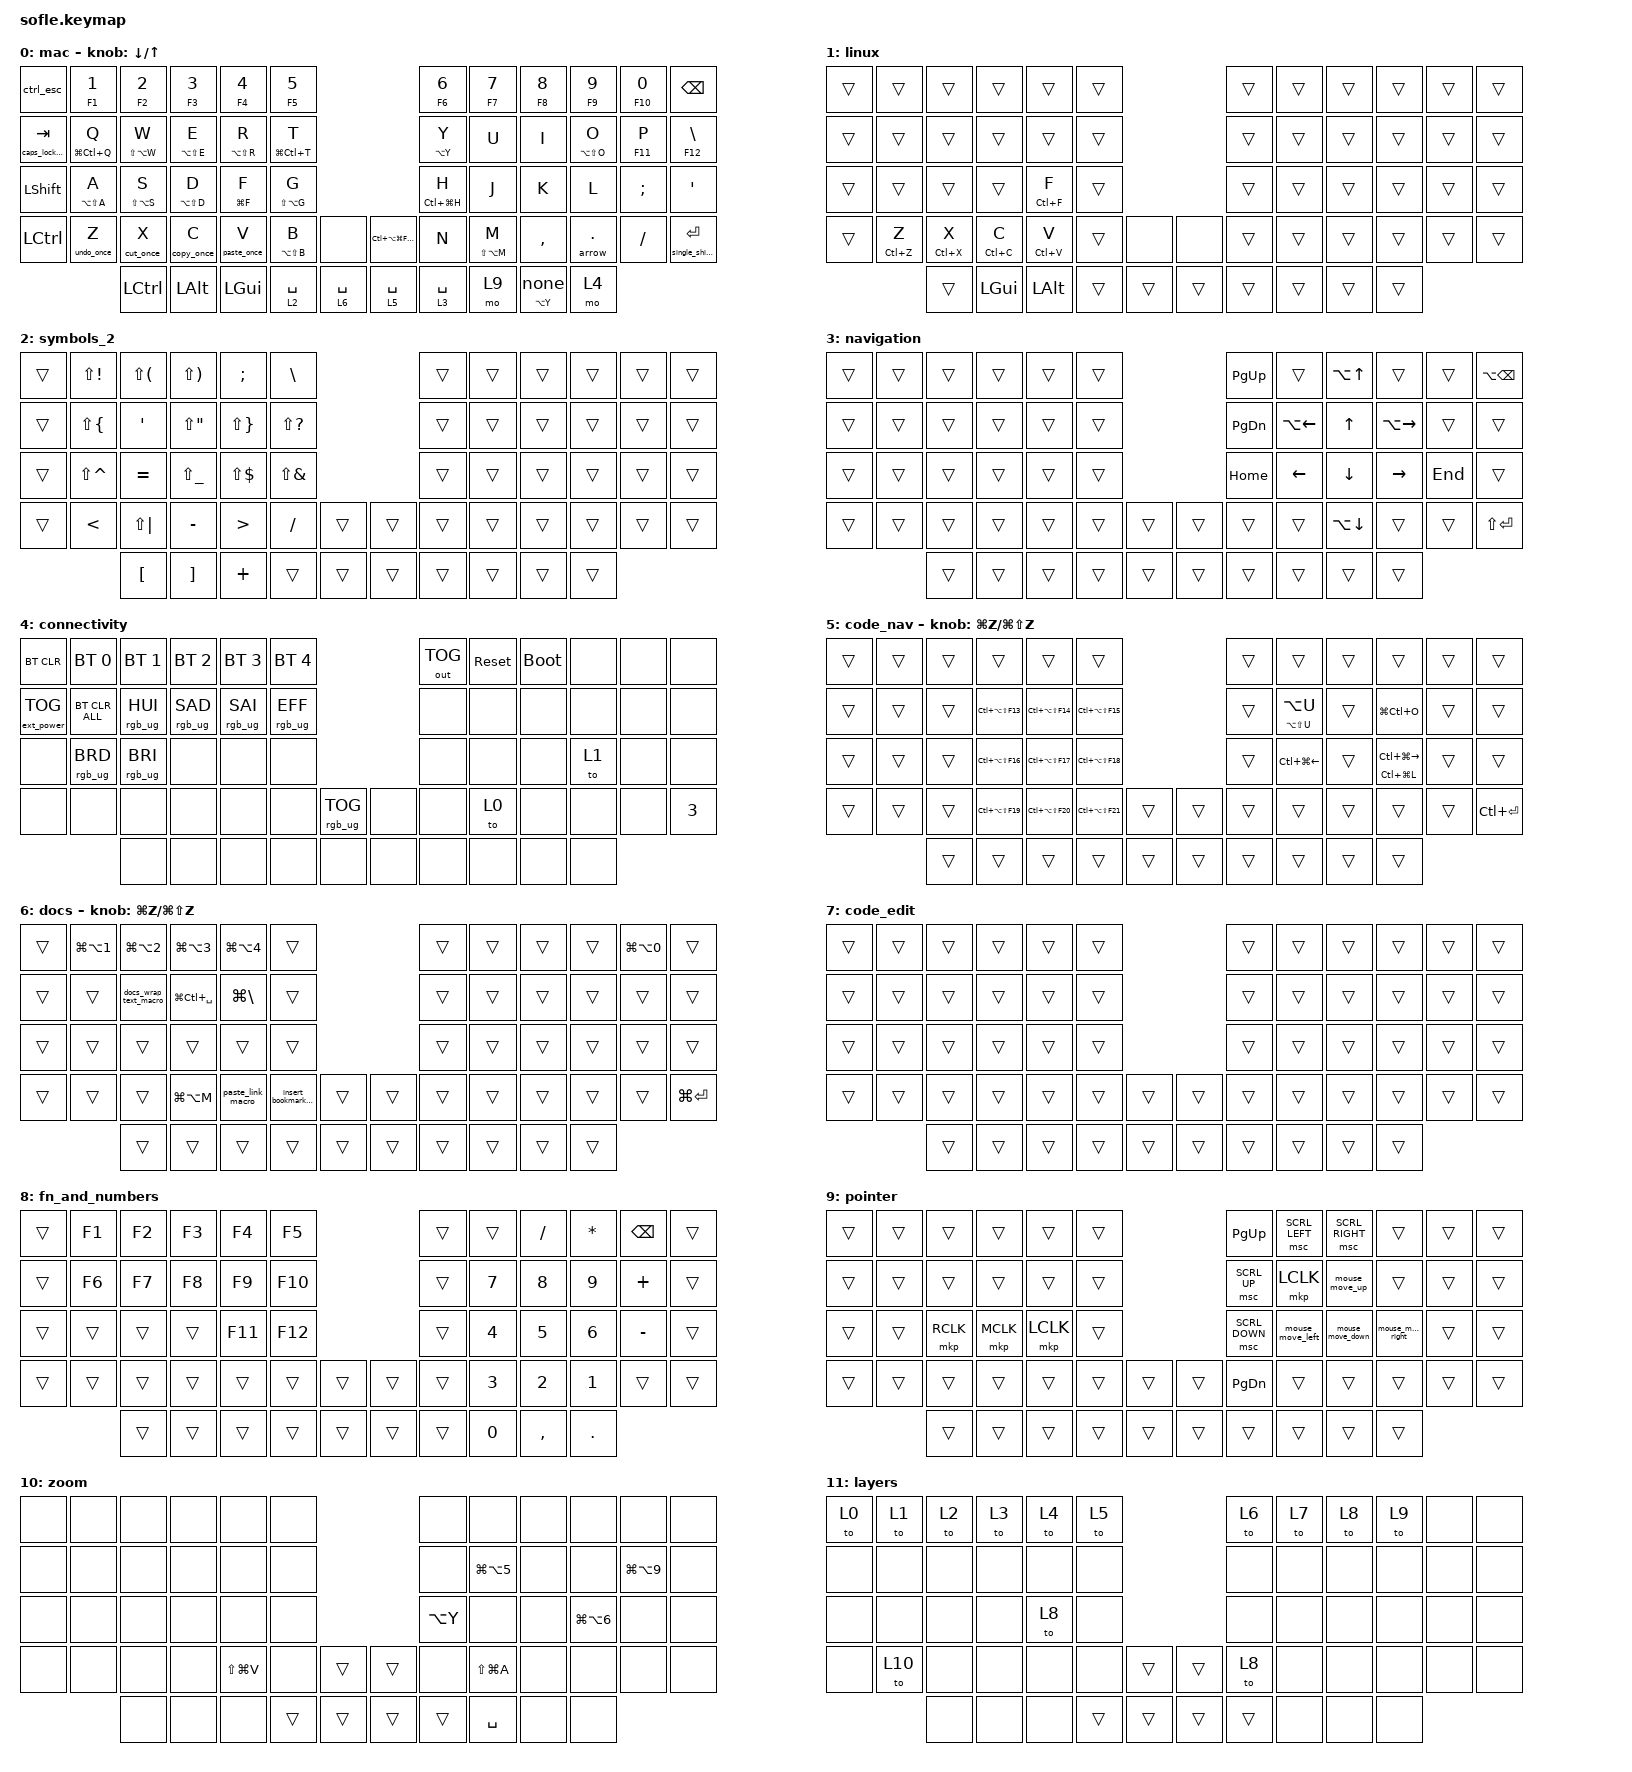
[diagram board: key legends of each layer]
/*
 * Copyright (c) 2020 The ZMK Contributors
 *
 * SPDX-License-Identifier: MIT
 */

#define ZMK_POINTING_DEFAULT_MOVE_VAL 800  // default: 600
#define ZMK_POINTING_DEFAULT_SCRL_VAL 10    // default: 10

#include <behaviors.dtsi>
#include <dt-bindings/zmk/bt.h>
#include <dt-bindings/zmk/ext_power.h>
#include <dt-bindings/zmk/keys.h>
#include <dt-bindings/zmk/outputs.h>
#include <dt-bindings/zmk/pointing.h>
#include <dt-bindings/zmk/pointing.h>
#include <dt-bindings/zmk/pointing.h>
#include <dt-bindings/zmk/rgb.h>

#define OUTPUT_SOURCE_KEYCODE_STATE_CHANGE 3

#define MAC_BASE_LAYER 0
#define LINUX_LAYER 1
#define SYMBOLS_2_LAYER 2
#define NAVIGATION_LAYER 3
#define CONNECTIVITY_LAYER 4
#define CODE_NAVIGATION_LAYER 5
#define SYMBOLS_LAYER 6

/ {
    behaviors {
        double_space_to_enter: double_space_to_enter {
            compatible = "zmk,behavior-tap-dance";
            label = "DOUBLE_SPACE_TO_ENTER";
            #binding-cells = <0>;
            bindings = <&lt 2 SPACE>, <&kp ENTER>;
        };

        f4_enter: f4_enter {
            compatible = "zmk,behavior-hold-tap";
            label = "F4_ENTER";
            bindings = <&kp>, <&kp>;

            #binding-cells = <2>;
            tapping-term-ms = <200>;
        };

        gresc_ctrl: gresc_ctrl {
            compatible = "zmk,behavior-mod-morph";
            label = "GRESC_CTRL";
            bindings = <&kp ESCAPE>, <&kp GRAVE>;

            #binding-cells = <0>;
            mods = <(MOD_LCTL|MOD_LGUI|MOD_LSFT|MOD_LALT)>;
        };

        dot_arrow: dot_arrow {
            compatible = "zmk,behavior-hold-tap";
            label = "DOT_ARROW";
            bindings = <&arrow>, <&kp>;

            #binding-cells = <2>;
            tapping-term-ms = <200>;
            flavor = "tap-preferred";
        };

        delayed_tap_hold_one: delayed_tap_hold_one {
            compatible = "zmk,behavior-hold-tap";
            label = "DELAYED_TAP_HOLD_ONE";
            bindings = <&kp>, <&kp>;

            #binding-cells = <2>;
            tapping-term-ms = <300>;
            flavor = "tap-preferred";
            require-prior-idle-ms = <200>;
        };

        hold_on_tab_mt: hold_on_tab_mt {
            compatible = "zmk,behavior-hold-tap";
            label = "HOLD_ON_TAB_MT";
            bindings = <&mt>, <&kp>;

            #binding-cells = <2>;
            tapping-term-ms = <400>;
            flavor = "tap-preferred";
        };

        shift_caps: shift_caps {
            compatible = "zmk,behavior-tap-dance";
            label = "SHIFT_CAPS";
            #binding-cells = <0>;
            bindings = <&kp LEFT_SHIFT>, <&kp CAPSLOCK>;
        };

        only_hold: only_hold {
            compatible = "zmk,behavior-hold-tap";
            label = "ONLY_HOLD";
            bindings = <&kp>, <&none>;

            #binding-cells = <2>;
            tapping-term-ms = <400>;
            flavor = "tap-preferred";
        };

        only_tap_none_hold: only_tap_none_hold {
            compatible = "zmk,behavior-hold-tap";
            label = "ONLY_TAP_NONE_HOLD";
            bindings = <&none>, <&kp>;

            #binding-cells = <2>;
            tapping-term-ms = <200>;
        };

        paste_on_hold_once: paste_on_hold_once {
            compatible = "zmk,behavior-hold-tap";
            label = "PASTE_ON_HOLD_ONCE";
            bindings = <&paste_once>, <&kp>;

            #binding-cells = <2>;
            flavor = "tap-preferred";
            tapping-term-ms = <300>;
        };

        monosnap_image_copy: monosnap_image_copy {
            compatible = "zmk,behavior-mod-morph";
            label = "MONOSNAP_IMAGE_COPY";
            bindings = <&kp C>, <&kp LA(LG(C))>;

            #binding-cells = <0>;
            mods = <(MOD_LCTL|MOD_LGUI)>;
        };

        copy_stuff: copy_stuff {
            compatible = "zmk,behavior-hold-tap";
            label = "COPY_STUFF";
            bindings = <&kp>, <&monosnap_image_copy>;

            #binding-cells = <2>;
            tapping-term-ms = <400>;
            flavor = "tap-preferred";
        };

        enter_shift_enter: enter_shift_enter {
            compatible = "zmk,behavior-hold-tap";
            label = "ENTER_SHIFT_ENTER";
            bindings = <&single_shift_enter>, <&kp>;

            #binding-cells = <2>;
            tapping-term-ms = <200>;
            flavor = "tap-preferred";
        };

        to_layer_on_hold: to_layer_on_hold {
            compatible = "zmk,behavior-hold-tap";
            label = "TO_LAYER_ON_HOLD";
            bindings = <&to>, <&kp>;

            #binding-cells = <2>;
            flavor = "tap-preferred";
            tapping-term-ms = <1000>;
        };

        copy_once_on_hold: copy_once_on_hold {
            compatible = "zmk,behavior-hold-tap";
            label = "COPY_ONCE_ON_HOLD";
            bindings = <&copy_once>, <&kp>;

            #binding-cells = <2>;
            flavor = "tap-preferred";
            tapping-term-ms = <300>;
        };

        ctrl_esc: ctrl_esc {
            compatible = "zmk,behavior-mod-morph";
            label = "CTRL_ESC";
            bindings = <&shift_esc>, <&kp LC(GRAVE)>;

            #binding-cells = <0>;
            mods = <(MOD_LCTL)>;
        };

        shift_esc: shift_esc {
            compatible = "zmk,behavior-mod-morph";
            label = "SHIFT_ESC";
            bindings = <&esc_tapdance>, <&kp TILDE>;

            #binding-cells = <0>;
            mods = <(MOD_LSFT)>;
        };

        esc_tapdance: esc_tapdance {
            compatible = "zmk,behavior-tap-dance";
            label = "ESC_TAPDANCE";
            #binding-cells = <0>;
            bindings =
                <&kp ESCAPE>,
                <&backtick_wrap>,
                <&triple_backtick>,
                <&triple_backtick_wrap_macro>;

            tapping-term-ms = <300>;
        };

        undo_once_on_hold: undo_once_on_hold {
            compatible = "zmk,behavior-hold-tap";
            label = "UNDO_ONCE_ON_HOLD";
            bindings = <&undo_once>, <&kp>;

            #binding-cells = <2>;
            flavor = "tap-preferred";
            tapping-term-ms = <300>;
        };

        cut_once_on_hold: cut_once_on_hold {
            compatible = "zmk,behavior-hold-tap";
            label = "CUT_ONCE_ON_HOLD";
            bindings = <&cut_once>, <&kp>;

            #binding-cells = <2>;
            flavor = "tap-preferred";
            tapping-term-ms = <300>;
        };

        caps_lock_once_on_hold: caps_lock_once_on_hold {
            compatible = "zmk,behavior-hold-tap";
            label = "CAPS_LOCK_ONCE_ON_HOLD";
            bindings = <&caps_lock_once>, <&kp>;

            #binding-cells = <2>;
            flavor = "tap-preferred";
            tapping-term-ms = <300>;
        };

        paste_link_on_hold_once: paste_link_on_hold_once {
            compatible = "zmk,behavior-hold-tap";
            label = "PASTE_LINK_ON_HOLD_ONCE";
            bindings = <&paste_link_macro>, <&kp>;

            #binding-cells = <2>;
            flavor = "tap-preferred";
            tapping-term-ms = <300>;
        };

        insert_bookmark_on_hold_once: insert_bookmark_on_hold_once {
            compatible = "zmk,behavior-hold-tap";
            label = "INSERT_BOOKMARK_ON_HOLD_ONCE";
            bindings = <&insert_bookmark_macro>, <&kp>;

            #binding-cells = <2>;
            flavor = "tap-preferred";
            tapping-term-ms = <300>;
        };

        delayed_tap_once_on_hold: delayed_tap_once_on_hold {
            compatible = "zmk,behavior-hold-tap";
            bindings = <&key_once_macro>, <&kp>;

            #binding-cells = <2>;
            tapping-term-ms = <300>;
            flavor = "tap-preferred";
            require-prior-idle-ms = <200>;
        };

        delayed_tap_once_haptic_on_hold: delayed_tap_once_haptic_on_hold {
            compatible = "zmk,behavior-hold-tap";
            bindings = <&key_once_haptic_macro>, <&kp>;

            #binding-cells = <2>;
            tapping-term-ms = <300>;
            flavor = "tap-preferred";
            require-prior-idle-ms = <200>;
        };

        lra0_bump: lra0_bump {
            compatible = "zmk,output-behavior-generic"; 
            #binding-cells = <0>;
            device = <&lra0>;
            /* force will be convrt to waveformm effect from DRV2605 library */
            /* NOTE: <7> is Soft Bump at 100% */
            force = <6>;
        };

        lra0_bump_listener: lra0_bump_listener {
            compatible = "zmk,output-behavior-listener";
            layers = < 0 1 >;
            sources = < OUTPUT_SOURCE_KEYCODE_STATE_CHANGE >;
            #binding-cells = <0>;
            /* set keycode filter here */
            position = < 0x73 >;
            bindings = < &lra0_bump >;
            
            /* enable to catch all state change that include key press and release */
            /* ensure to stop on-going LRA effect immediately on key released */
            all-state;
        };

        mouse_move_up: mouse_move_up {
            compatible = "zmk,behavior-mod-morph";
            bindings = <&mouse_move_up_slow>, <&mmv MOVE_Y(-3000)>;

            #binding-cells = <0>;
            mods = <(MOD_LSFT)>;
        };

        mouse_move_right: mouse_move_right {
            compatible = "zmk,behavior-mod-morph";
            bindings = <&mouse_move_right_slow>, <&mmv MOVE_X(3000)>;

            #binding-cells = <0>;
            mods = <(MOD_LSFT)>;
        };

        mouse_move_down: mouse_move_down {
            compatible = "zmk,behavior-mod-morph";
            bindings = <&mouse_move_down_slow>, <&mmv MOVE_Y(3000)>;

            #binding-cells = <0>;
            mods = <(MOD_LSFT)>;
        };

        mouse_move_left: mouse_move_left {
            compatible = "zmk,behavior-mod-morph";
            bindings = <&mouse_move_left_slow>, <&mmv MOVE_X(-3000)>;

            #binding-cells = <0>;
            mods = <(MOD_LSFT)>;
        };

        mouse_move_up_slow: mouse_move_up_slow {
            compatible = "zmk,behavior-mod-morph";
            bindings = <&mmv MOVE_UP>, <&mmv MOVE_Y(-400)>;

            #binding-cells = <0>;
            mods = <(MOD_LCTL)>;
        };

        mouse_move_right_slow: mouse_move_right_slow {
            compatible = "zmk,behavior-mod-morph";
            bindings = <&mmv MOVE_RIGHT>, <&mmv MOVE_X(400)>;

            #binding-cells = <0>;
            mods = <(MOD_LCTL)>;
        };

        mouse_move_down_slow: mouse_move_down_slow {
            compatible = "zmk,behavior-mod-morph";
            bindings = <&mmv MOVE_DOWN>, <&mmv MOVE_Y(400)>;

            #binding-cells = <0>;
            mods = <(MOD_LCTL)>;
        };

        mouse_move_left_slow: mouse_move_left_slow {
            compatible = "zmk,behavior-mod-morph";
            bindings = <&mmv MOVE_LEFT>, <&mmv MOVE_X(-400)>;

            #binding-cells = <0>;
            mods = <(MOD_LCTL)>;
        };
    };

    macros {
        arrow: arrow {
            compatible = "zmk,behavior-macro";
            #binding-cells = <0>;
            bindings = <&kp MINUS &kp GT &kp LC(SPACE)>;
            label = "ARROW";
        };

        paste_once: paste_plain {
            compatible = "zmk,behavior-macro";
            #binding-cells = <0>;
            bindings = <&kp LG(V)>, <&kp F24>;
            label = "PASTE_PLAIN";
        };

        single_shift_enter: single_shift_enter {
            compatible = "zmk,behavior-macro";
            #binding-cells = <0>;
            bindings = <&kp LS(ENTER)>;
            label = "SINGLE_SHIFT_ENTER";
        };

        copy_once: copy_once {
            compatible = "zmk,behavior-macro";
            #binding-cells = <0>;
            bindings = <&kp LG(C)>, <&kp F24>;
            label = "COPY_ONCE";
        };

        triple_backtick: triple_backtick {
            compatible = "zmk,behavior-macro";
            #binding-cells = <0>;
            bindings = <&kp GRAVE &kp GRAVE &kp GRAVE>;
            label = "triple_backtick";
        };

        backtick_wrap: backtick_wrap {
            compatible = "zmk,behavior-macro";
            #binding-cells = <0>;
            bindings = <&kp LG(X) &kp GRAVE &kp GRAVE &kp LEFT_ARROW &kp LG(V)>;
            label = "BACKTICK_WRAP";
        };

        undo_once: undo_once {
            compatible = "zmk,behavior-macro";
            #binding-cells = <0>;
            bindings = <&kp LG(Z)>, <&kp F24>;
            label = "UNDO_ONCE";
        };

        cut_once: cut_once {
            compatible = "zmk,behavior-macro";
            #binding-cells = <0>;
            bindings = <&kp LG(X)>, <&kp F24>;
            label = "CUT_ONCE";
        };

        caps_lock_once: caps_lock_once {
            compatible = "zmk,behavior-macro";
            #binding-cells = <0>;
            bindings = <&kp CAPSLOCK>, <&kp F24>;
            label = "CAPS_LOCK_ONCE";
        };

        paste_link_macro: paste_link_macro {
            compatible = "zmk,behavior-macro";
            #binding-cells = <0>;
            bindings =
                <&kp LG(K)>,
                <&macro_wait_time 200>,
                <&kp LG(V) &kp ENTER>;

            label = "PASTE_LINK_MACRO";
        };

        insert_bookmark_macro: insert_bookmark {
            compatible = "zmk,behavior-macro";
            #binding-cells = <0>;
            bindings = <&kp LC(LA(I))>, <&macro_wait_time 200>, <&kp B>, <&kp F24>;

            label = "INSERT_BOOKMARK";
        };

        triple_backtick_wrap_macro: triple_backtick_wrap_macro {
            compatible = "zmk,behavior-macro";
            #binding-cells = <0>;
            bindings = <&kp LG(X) &kp GRAVE &kp GRAVE &kp GRAVE &kp LS(ENTER) &kp LG(V) &kp LS(ENTER) &kp GRAVE &kp GRAVE &kp GRAVE>;
            label = "TRIPLE_BACKTICK_WRAP_MACRO";
        };

        docs_reset_format_macro: docs_reset_format_macro {
            compatible = "zmk,behavior-macro";
            #binding-cells = <0>;
            bindings = <&none>;
            label = "DOCS_RESET_FORMAT_MACRO";
        };

        docs_wrap_text_macro: docs_wrap_text_macro {
            compatible = "zmk,behavior-macro";
            #binding-cells = <0>;
            bindings = <&kp LC(LA(O)) &kp W &kp W>;
            label = "DOCS_WRAP_TEXT_MACRO";
        };

        key_once_macro: key_once_macro {
            compatible = "zmk,behavior-macro-one-param";
            #binding-cells = <1>;
            bindings = <&macro_param_1to1>, <&kp MACRO_PLACEHOLDER>;
        };

        key_once_haptic_macro: key_once_haptic_macro {
            compatible = "zmk,behavior-macro-one-param";
            #binding-cells = <1>;
            bindings = <&macro_param_1to1>, <&kp MACRO_PLACEHOLDER>, <&kp F24>;
        };
    };

    combos {
        compatible = "zmk,combos";

        shift_tab_caps {
            bindings = <&kp CAPSLOCK>;
            key-positions = <>;
            layers = <0>;
        };

        mo_docs_layer {
            bindings = <&mo 6>;
            key-positions = <54 53>;
            timeout-ms = <100>;
        };

        code_edit {
            bindings = <&mo 7>;
            key-positions = <56 55>;
            timeout-ms = <100>;
        };
    };

    keymap {
        compatible = "zmk,keymap";

        mac {
            display-name = "mac";
            bindings = <
&ctrl_esc                      &delayed_tap_once_on_hold F1 N1    &delayed_tap_once_on_hold F2 N2        &delayed_tap_once_on_hold F3 N3        &delayed_tap_once_on_hold F4 N4        &delayed_tap_once_on_hold F5 N5                                    &delayed_tap_once_on_hold F6 N6        &delayed_tap_once_on_hold F7 N7        &delayed_tap_once_on_hold F8 N8  &delayed_tap_once_on_hold F9 N9        &delayed_tap_once_on_hold F10 N0  &kp BACKSPACE
&caps_lock_once_on_hold 0 TAB  &delayed_tap_hold_one LG(LC(Q)) Q  &delayed_tap_hold_one LS(LA(W)) W  &delayed_tap_hold_one LA(LS(E)) E  &delayed_tap_hold_one LA(LS(R)) R  &delayed_tap_hold_one LG(LC(T)) T                              &delayed_tap_hold_one LA(Y) Y      &kp U                              &kp I                        &delayed_tap_hold_one LA(LS(O)) O  &delayed_tap_once_on_hold F11 P   &delayed_tap_once_on_hold F12 BACKSLASH
&kp LEFT_SHIFT                 &delayed_tap_hold_one LA(LS(A)) A  &delayed_tap_hold_one LS(LA(S)) S  &delayed_tap_hold_one LA(LS(D)) D  &delayed_tap_once_haptic_on_hold LG(F) F      &delayed_tap_hold_one LS(LA(G)) G                              &delayed_tap_hold_one LC(LG(H)) H  &kp J                              &kp K                        &kp L                              &kp SEMI                      &kp SQT
&kp LCTRL                      &undo_once_on_hold 0 Z             &cut_once_on_hold 0 X              &copy_once_on_hold 0 C             &paste_on_hold_once 0 V            &delayed_tap_hold_one LA(LS(B)) B  &none          &kp LC(LA(LG(F13)))        &kp N                              &delayed_tap_hold_one LS(LA(M)) M  &kp COMMA                    &dot_arrow 0 DOT                   &kp FSLH                      &enter_shift_enter 0 ENTER
                                                                  &kp LCTRL                          &kp LALT                           &kp LEFT_GUI                       &lt 2 SPACE                        &lt 6 SPACE    &lt 5 SPACE  &lt 3 SPACE                        &mo 9                              &only_hold LA(Y) 0           &mo 4
            >;

            sensor-bindings = <&inc_dec_kp DOWN UP>;
        };

        linux {
            display-name = "linux";
            bindings = <
&trans  &trans  &trans  &trans    &trans    &trans                    &trans  &trans  &trans  &trans  &trans  &trans
&trans  &trans  &trans  &trans    &trans    &trans                    &trans  &trans  &trans  &trans  &trans  &trans
&trans  &trans  &trans  &trans    &delayed_tap_once_haptic_on_hold LC(F) F    &trans                    &trans  &trans  &trans  &trans  &trans  &trans
&trans  &delayed_tap_once_haptic_on_hold LC(Z) Z  &delayed_tap_once_haptic_on_hold LC(X) X  &delayed_tap_once_haptic_on_hold LC(C) C    &delayed_tap_once_haptic_on_hold LC(V) V    &trans  &none     &none   &trans  &trans  &trans  &trans  &trans  &trans
                &trans  &kp LGUI  &kp LALT  &trans  &trans    &trans  &trans  &trans  &trans  &trans
            >;
        };

        symbols_2 {
            display-name = "symbols_2";
            bindings = <
&trans  &kp LS(EXCL)   &kp LS(LPAR)      &kp LS(RPAR)       &kp SEMI      &kp BSLH                         &trans  &trans  &trans  &trans  &trans  &trans
&trans  &kp LS(LBRC)   &kp SQT           &kp LS(DQT)        &kp LS(RBRC)  &kp LS(QMARK)                    &trans  &trans  &trans  &trans  &trans  &trans
&trans  &kp LS(CARET)  &kp EQUAL         &kp LS(UNDER)      &kp LS(DLLR)  &kp LS(AMPS)                     &trans  &trans  &trans  &trans  &trans  &trans
&trans  &kp LT         &kp LS(PIPE)      &kp MINUS          &kp GT        &kp SLASH      &trans    &trans  &trans  &trans  &trans  &trans  &trans  &trans
                       &kp LEFT_BRACKET  &kp RIGHT_BRACKET  &kp PLUS      &trans         &trans    &trans  &trans  &trans  &trans  &trans
            >;
        };

        navigation {
            display-name = "navigation";
            bindings = <
&trans  &trans  &trans  &trans  &trans  &trans                    &kp PG_UP     &trans        &kp LA(UP)    &trans         &trans   &kp LA(BACKSPACE)
&trans  &trans  &trans  &trans  &trans  &trans                    &kp PG_DN  &kp LA(LEFT)  &kp UP        &kp LA(RIGHT)  &trans   &trans
&trans  &trans  &trans  &trans  &trans  &trans                    &kp HOME   &kp LEFT      &kp DOWN      &kp RIGHT      &kp END  &trans
&trans  &trans  &trans  &trans  &trans  &trans  &trans    &trans  &trans     &trans        &kp LA(DOWN)  &trans         &trans   &kp LS(ENTER)
                &trans  &trans  &trans  &trans  &trans    &trans  &trans     &trans        &trans        &trans
            >;
        };

        connectivity {
            display-name = "connectivity";
            bindings = <
&bt BT_CLR         &bt BT_SEL 0     &bt BT_SEL 1     &bt BT_SEL 2     &bt BT_SEL 3     &bt BT_SEL 4                               &out OUT_TOG  &sys_reset  &bootloader  &none  &none  &none
&ext_power EP_TOG  &bt BT_CLR_ALL   &rgb_ug RGB_HUI  &rgb_ug RGB_SAD  &rgb_ug RGB_SAI  &rgb_ug RGB_EFF                            &none         &none       &none        &none  &none  &none
&none              &rgb_ug RGB_BRD  &rgb_ug RGB_BRI  &none            &none            &none                                      &none         &none       &none        &to 1  &none  &none
&none              &none            &none            &none            &none            &none            &rgb_ug RGB_TOG    &none  &none         &to 0       &none        &none  &none  &kp N3
                                    &none            &none            &none            &none            &none              &none  &none         &none       &none        &none
            >;
        };

        code_nav {
            bindings = <
&trans  &trans  &trans  &trans  &trans  &trans                    &trans  &trans               &trans  &trans                                         &trans  &trans
&trans  &trans  &trans  &kp LC(LA(LS(F13)))  &kp LC(LA(LS(F14)))  &kp LC(LA(LS(F15)))                    &trans  &mt LA(LS(U)) LA(U)  &trans  &kp LG(LC(O))                                  &trans  &trans
&trans  &trans  &trans  &kp LC(LA(LS(F16)))  &kp LC(LA(LS(F17)))  &kp LC(LA(LS(F18)))                    &trans  &kp LC(LG(LEFT))     &trans  &delayed_tap_hold_one LC(LG(L)) LC(LG(RIGHT))  &trans  &trans
&trans  &trans  &trans  &kp LC(LA(LS(F19)))  &kp LC(LA(LS(F20)))  &kp LC(LA(LS(F21)))  &trans    &trans  &trans  &trans               &trans  &trans                                         &trans  &kp LC(ENTER)
                &trans  &trans  &trans  &trans  &trans    &trans  &trans  &trans               &trans  &trans
            >;

            sensor-bindings = <&inc_dec_kp LG(Z) LG(LS(Z))>;
        };

        docs {
            bindings = <
&trans  &kp LG(LA(N1))  &kp LG(LA(N2))                 &kp LG(LA(N3))         &kp LG(LA(N4))             &trans                                    &trans  &trans  &trans  &trans  &kp LG(LA(N0))  &trans
&trans  &trans  &docs_wrap_text_macro  &kp LG(LC(SPACE))         &kp LG(BACKSLASH)  &trans                                    &trans  &trans  &trans  &trans  &trans  &trans
&trans  &trans  &trans                 &trans         &trans             &trans                                    &trans  &trans  &trans  &trans  &trans  &trans
&trans  &trans  &trans                 &kp LG(LA(M))  &paste_link_macro  &insert_bookmark_macro  &trans    &trans  &trans  &trans  &trans  &trans  &trans  &kp LG(ENTER)
                &trans                 &trans         &trans             &trans                  &trans    &trans  &trans  &trans  &trans  &trans
            >;

            sensor-bindings = <&inc_dec_kp LG(Z) LG(LS(Z))>;
        };

        code_edit {
            bindings = <
&trans  &trans  &trans  &trans  &trans  &trans                    &trans  &trans  &trans  &trans  &trans  &trans
&trans  &trans  &trans  &trans  &trans  &trans                    &trans  &trans  &trans  &trans  &trans  &trans
&trans  &trans  &trans  &trans  &trans  &trans                    &trans  &trans  &trans  &trans  &trans  &trans
&trans  &trans  &trans  &trans  &trans  &trans  &trans    &trans  &trans  &trans  &trans  &trans  &trans  &trans
                &trans  &trans  &trans  &trans  &trans    &trans  &trans  &trans  &trans  &trans
            >;
        };

        fn_and_numbers {
            bindings = <
&trans  &kp F1  &kp F2  &kp F3  &kp F4   &kp F5                     &trans  &trans  &kp FSLH   &kp ASTERISK  &kp BSPC   &trans
&trans  &kp F6  &kp F7  &kp F8  &kp F9   &kp F10                    &trans  &kp N7  &kp N8     &kp N9        &kp PLUS   &trans
&trans  &trans  &trans  &trans  &kp F11  &kp F12                    &trans  &kp N4  &kp N5     &kp N6        &kp MINUS  &trans
&trans  &trans  &trans  &trans  &trans   &trans   &trans    &trans  &trans  &kp N3  &kp N2     &kp N1        &trans     &trans
                &trans  &trans  &trans   &trans   &trans    &trans  &trans  &kp N0  &kp COMMA  &kp DOT
            >;
        };

        pointer {
            bindings = <
&trans  &trans  &trans     &trans     &trans     &trans                    &kp PAGE_UP     &msc SCRL_LEFT  &msc SCRL_RIGHT  &trans           &trans  &trans
&trans  &trans  &trans     &trans     &trans     &trans                    &msc SCRL_UP    &mkp LCLK       &mouse_move_up     &trans           &trans  &trans
&trans  &trans  &mkp RCLK  &mkp MCLK  &mkp LCLK  &trans                    &msc SCRL_DOWN  &mouse_move_left  &mouse_move_down   &mouse_move_right  &trans  &trans
&trans  &trans  &trans     &trans     &trans     &trans  &trans    &trans  &kp PAGE_DOWN   &trans          &trans           &trans           &trans  &trans
                &trans     &trans     &trans     &trans  &trans    &trans  &trans          &trans          &trans           &trans
            >;
        };

        zoom {
            bindings = <
&none  &none  &none  &none  &none  &none                  &none  &none  &none  &none  &none  &none
&none  &none  &none  &none  &none  &none                  &none  &kp LG(LA(N5))  &none  &none  &kp LG(LA(N9))  &none
&none  &none  &none  &none  &none  &none                  &kp LA(Y)  &none  &none  &kp LG(LA(N6))  &none  &none
&none  &none  &none  &none  &kp LS(LG(V))  &none  &trans    &trans  &none  &kp LS(LG(A))  &none  &none  &none  &none
              &none  &none  &none  &trans  &trans    &trans  &trans  &kp SPACE  &none  &none
            >;
        };

        layers {
            bindings = <
&to 0  &to 1  &to 2  &to 3  &to 4  &to 5                  &to 6  &to 7  &to 8  &to 9  &none  &none
&none  &none  &none  &none  &none  &none                  &none  &none  &none  &none  &none  &none
&none  &none  &none  &none  &to 8  &none                  &none  &none  &none  &none  &none  &none
&none  &to 10  &none  &none  &none  &none  &trans    &trans  &to 8  &none  &none  &none  &none  &none
              &none  &none  &none  &trans  &trans    &trans  &trans  &none  &none  &none
            >;
        };
    };

    conditional_layers {
        compatible = "zmk,conditional-layers";

        to_layers_layer {
            if-layers = <6 5>;
            then-layer = <11>;
        };
    };
};
